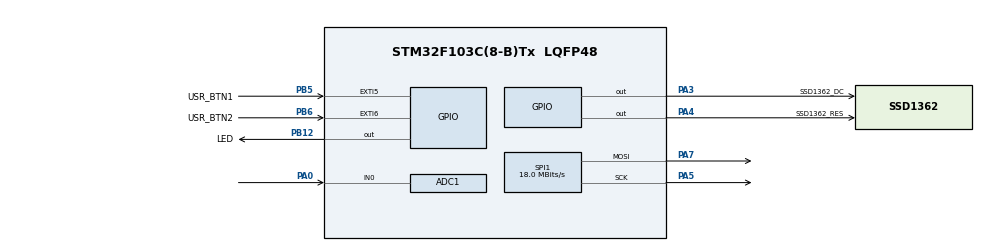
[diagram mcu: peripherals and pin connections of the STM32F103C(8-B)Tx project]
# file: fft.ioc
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ADC1.Channel-2\#ChannelRegularConversion=ADC_CHANNEL_0
ADC1.ContinuousConvMode=DISABLE
ADC1.DataAlign=ADC_DATAALIGN_RIGHT
ADC1.EnableInjectedConversion=DISABLE
ADC1.EnableRegularConversion=ENABLE
ADC1.ExternalTrigConv=ADC_EXTERNALTRIGCONV_T3_TRGO
ADC1.InjNumberOfConversion=0
ADC1.NbrOfConversion=1
ADC1.NbrOfConversionFlag=1
ADC1.Rank-2\#ChannelRegularConversion=1
ADC1.SamplingTime-2\#ChannelRegularConversion=ADC_SAMPLETIME_13CYCLES_5
ADC1.master=1
Dma.ADC1.0.Direction=DMA_PERIPH_TO_MEMORY
Dma.ADC1.0.Instance=DMA1_Channel1
Dma.ADC1.0.MemDataAlignment=DMA_MDATAALIGN_WORD
Dma.ADC1.0.MemInc=DMA_MINC_ENABLE
Dma.ADC1.0.Mode=DMA_CIRCULAR
Dma.ADC1.0.PeriphDataAlignment=DMA_PDATAALIGN_HALFWORD
Dma.ADC1.0.PeriphInc=DMA_PINC_DISABLE
Dma.ADC1.0.Priority=DMA_PRIORITY_LOW
Dma.Request0=ADC1
Dma.Request1=SPI1_TX
Dma.SPI1_TX.1.Direction=DMA_MEMORY_TO_PERIPH
Dma.SPI1_TX.1.Instance=DMA1_Channel3
Dma.SPI1_TX.1.MemDataAlignment=DMA_MDATAALIGN_BYTE
Dma.SPI1_TX.1.MemInc=DMA_MINC_ENABLE
Dma.SPI1_TX.1.Mode=DMA_CIRCULAR
Dma.SPI1_TX.1.PeriphDataAlignment=DMA_PDATAALIGN_BYTE
Dma.SPI1_TX.1.PeriphInc=DMA_PINC_DISABLE
Dma.SPI1_TX.1.Priority=DMA_PRIORITY_LOW
Mcu.Family=STM32F1
Mcu.Name=STM32F103C(8-B)Tx
Mcu.Package=LQFP48
NVIC.DMA1_Channel1_IRQn=true\:0\:0\:false\:false\:true\:false\:true\:true
NVIC.DMA1_Channel3_IRQn=true\:0\:0\:false\:false\:true\:false\:true\:true
NVIC.PriorityGroup=NVIC_PRIORITYGROUP_4
PA0-WKUP.Signal=ADCx_IN0
PA13.Mode=Serial_Wire
PA13.Signal=SYS_JTMS-SWDIO
PA14.Mode=Serial_Wire
PA14.Signal=SYS_JTCK-SWCLK
PA3.GPIO_Label=SSD1362_DC
PA3.Signal=GPIO_Output
PA4.GPIO_Label=SSD1362_RES
PA4.Signal=GPIO_Output
PA5.Mode=TX_Only_Simplex_Unidirect_Master
PA5.Signal=SPI1_SCK
PA7.Mode=TX_Only_Simplex_Unidirect_Master
PA7.Signal=SPI1_MOSI
PB12.GPIO_Label=LED
PB12.PinState=GPIO_PIN_SET
PB12.Signal=GPIO_Output
PB5.GPIO_Label=USR_BTN1
PB5.GPIO_PuPd=GPIO_PULLUP
PB5.Signal=GPXTI5
PB6.GPIO_Label=USR_BTN2
PB6.GPIO_PuPd=GPIO_PULLUP
PB6.Signal=GPXTI6
PD0-OSC_IN.Mode=HSE-External-Oscillator
PD0-OSC_IN.Signal=RCC_OSC_IN
PD1-OSC_OUT.Mode=HSE-External-Oscillator
PD1-OSC_OUT.Signal=RCC_OSC_OUT
ProjectManager.HeapSize=0x200
ProjectManager.StackSize=0x400
ProjectManager.TargetToolchain=STM32CubeIDE
RCC.ADCPresc=RCC_ADCPCLK2_DIV6
RCC.AHBFreq_Value=72000000
RCC.APB1CLKDivider=RCC_HCLK_DIV2
RCC.APB1Freq_Value=36000000
RCC.APB1TimFreq_Value=72000000
RCC.APB2Freq_Value=72000000
RCC.APB2TimFreq_Value=72000000
RCC.HCLKFreq_Value=72000000
RCC.PLLMUL=RCC_PLL_MUL9
RCC.PLLSourceVirtual=RCC_PLLSOURCE_HSE
RCC.SYSCLKFreq_VALUE=72000000
RCC.SYSCLKSource=RCC_SYSCLKSOURCE_PLLCLK
RCC.USBFreq_Value=72000000
SH.ADCx_IN0.0=ADC1_IN0,IN0
SPI1.BaudRatePrescaler=SPI_BAUDRATEPRESCALER_4
SPI1.CalculateBaudRate=18.0 MBits/s
SPI1.DataSize=SPI_DATASIZE_8BIT
SPI1.Direction=SPI_DIRECTION_2LINES
SPI1.Mode=SPI_MODE_MASTER
SPI1.VirtualType=VM_MASTER
TIM3.Period=2399
TIM3.Prescaler=0
TIM3.TIM_MasterOutputTrigger=TIM_TRGO_UPDATE
VP_TIM3_VS_ClockSourceINT.Mode=Internal
board=custom

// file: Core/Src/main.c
/* USER CODE BEGIN Header */
/**
  ******************************************************************************
  * @file           : main.c
  * @brief          : Main program body
  ******************************************************************************
  * @attention
  *
  * Copyright (c) 2023 STMicroelectronics.
  * All rights reserved.
  *
  * This software is licensed under terms that can be found in the LICENSE file
  * in the root directory of this software component.
  * If no LICENSE file comes with this software, it is provided AS-IS.
  *
  ******************************************************************************
  */
/* USER CODE END Header */
#include "main.h"

/* USER CODE BEGIN Includes */
#include "ssd1362.h"
#include "application.h"
/* USER CODE END Includes */

/* USER CODE BEGIN PV */
volatile uint8_t sampleAvail;
volatile uint8_t processCplt;
volatile uint8_t readBuffer;

static int32_t fftInOut[2][FFT_SIZE];

extern arm_rfft_instance_q31 rfftInstance;
extern uint8_t dispBuf[SSD1362_SEGS / 2][SSD1362_COMS];

/* USER CODE END PV */

void SystemClock_Config(void);
static void MX_GPIO_Init(void);
static void MX_DMA_Init(void);
static void MX_ADC1_Init(void);
static void MX_SPI1_Init(void);
static void MX_TIM3_Init(void);

int main(void)
{

  /* MCU Configuration--------------------------------------------------------*/

  /* Reset of all peripherals, Initializes the Flash interface and the Systick. */
  LL_APB2_GRP1_EnableClock(LL_APB2_GRP1_PERIPH_AFIO);
  LL_APB1_GRP1_EnableClock(LL_APB1_GRP1_PERIPH_PWR);

  /* System interrupt init*/
  NVIC_SetPriorityGrouping(NVIC_PRIORITYGROUP_4);

  /* SysTick_IRQn interrupt configuration */
  NVIC_SetPriority(SysTick_IRQn, NVIC_EncodePriority(NVIC_GetPriorityGrouping(),15, 0));

  /** NOJTAG: JTAG-DP Disabled and SW-DP Enabled
  */
  LL_GPIO_AF_Remap_SWJ_NOJTAG();

  /* Configure the system clock */
  SystemClock_Config();

  /* Initialize all configured peripherals */
  MX_GPIO_Init();
  MX_DMA_Init();
  MX_ADC1_Init();
  MX_SPI1_Init();
  MX_TIM3_Init();
  /* USER CODE BEGIN 2 */

  LL_SPI_Enable(SPI1);
  SSD1362_Init();
  arm_rfft_init_q31(&rfftInstance, FFT_SIZE, 0, 1);

  // ADC DMA configuration
  // RM0008 13.3.3 Channel configuration procedure
  LL_DMA_SetPeriphAddress(DMA1, LL_DMA_CHANNEL_1, (uint32_t)&ADC1->DR);
  LL_DMA_SetMemoryAddress(DMA1, LL_DMA_CHANNEL_1, (uint32_t)fftInOut);
  LL_DMA_SetDataLength(DMA1, LL_DMA_CHANNEL_1, 2*FFT_SIZE);
  LL_DMA_EnableIT_TC(DMA1, LL_DMA_CHANNEL_1);
  LL_DMA_EnableIT_HT(DMA1, LL_DMA_CHANNEL_1);
  LL_DMA_EnableChannel(DMA1, LL_DMA_CHANNEL_1);

  // SPI DMA configuration
  LL_DMA_SetPeriphAddress(DMA1, LL_DMA_CHANNEL_3, (uint32_t)&SPI1->DR);
	LL_DMA_SetMemoryAddress(DMA1, LL_DMA_CHANNEL_3, (uint32_t)dispBuf);
	LL_DMA_SetDataLength(DMA1, LL_DMA_CHANNEL_3, sizeof(dispBuf));
	LL_DMA_EnableIT_TC(DMA1, LL_DMA_CHANNEL_3);
	LL_DMA_EnableChannel(DMA1, LL_DMA_CHANNEL_3);

  LL_ADC_Enable(ADC1);
  LL_ADC_StartCalibration(ADC1);
  while (LL_ADC_IsCalibrationOnGoing(ADC1));

  // Sampling clock configuration
  LL_TIM_EnableUpdateEvent(TIM3);
  LL_TIM_EnableCounter(TIM3);

  sampleAvail = 0;
  processCplt = 1;
  LL_ADC_REG_StartConversionExtTrig(ADC1, LL_ADC_REG_TRIG_EXT_RISING);
  /* USER CODE END 2 */

  /* Infinite loop */
  /* USER CODE BEGIN WHILE */
  while (1)
  {
  	if (sampleAvail && processCplt)
  	{
  		sampleAvail = 0;
  		processCplt = 0;

  		LL_GPIO_TogglePin(LED_GPIO_Port, LED_Pin);

			DoFFTAndUpdateDisplay(fftInOut[readBuffer]);
			LL_SPI_EnableDMAReq_TX(SPI1);
  	}
    /* USER CODE END WHILE */

  }
}

void SystemClock_Config(void)
{
  LL_FLASH_SetLatency(LL_FLASH_LATENCY_2);
  while(LL_FLASH_GetLatency()!= LL_FLASH_LATENCY_2)
  {
  }
  LL_RCC_HSE_Enable();

   /* Wait till HSE is ready */
  while(LL_RCC_HSE_IsReady() != 1)
  {

  }
  LL_RCC_PLL_ConfigDomain_SYS(LL_RCC_PLLSOURCE_HSE_DIV_1, LL_RCC_PLL_MUL_9);
  LL_RCC_PLL_Enable();

   /* Wait till PLL is ready */
  while(LL_RCC_PLL_IsReady() != 1)
  {

  }
  LL_RCC_SetAHBPrescaler(LL_RCC_SYSCLK_DIV_1);
  LL_RCC_SetAPB1Prescaler(LL_RCC_APB1_DIV_2);
  LL_RCC_SetAPB2Prescaler(LL_RCC_APB2_DIV_1);
  LL_RCC_SetSysClkSource(LL_RCC_SYS_CLKSOURCE_PLL);

   /* Wait till System clock is ready */
  while(LL_RCC_GetSysClkSource() != LL_RCC_SYS_CLKSOURCE_STATUS_PLL)
  {

  }
  LL_Init1msTick(72000000);
  LL_SetSystemCoreClock(72000000);
  LL_RCC_SetADCClockSource(LL_RCC_ADC_CLKSRC_PCLK2_DIV_6);
}

static void MX_ADC1_Init(void)
{

  LL_ADC_InitTypeDef ADC_InitStruct = {0};
  LL_ADC_CommonInitTypeDef ADC_CommonInitStruct = {0};
  LL_ADC_REG_InitTypeDef ADC_REG_InitStruct = {0};

  LL_GPIO_InitTypeDef GPIO_InitStruct = {0};

  /* Peripheral clock enable */
  LL_APB2_GRP1_EnableClock(LL_APB2_GRP1_PERIPH_ADC1);

  LL_APB2_GRP1_EnableClock(LL_APB2_GRP1_PERIPH_GPIOA);
  /**ADC1 GPIO Configuration
  PA0-WKUP   ------> ADC1_IN0
  */
  GPIO_InitStruct.Pin = LL_GPIO_PIN_0;
  GPIO_InitStruct.Mode = LL_GPIO_MODE_ANALOG;
  LL_GPIO_Init(GPIOA, &GPIO_InitStruct);

  /* ADC1 DMA Init */

  /* ADC1 Init */
  LL_DMA_SetDataTransferDirection(DMA1, LL_DMA_CHANNEL_1, LL_DMA_DIRECTION_PERIPH_TO_MEMORY);

  LL_DMA_SetChannelPriorityLevel(DMA1, LL_DMA_CHANNEL_1, LL_DMA_PRIORITY_LOW);

  LL_DMA_SetMode(DMA1, LL_DMA_CHANNEL_1, LL_DMA_MODE_CIRCULAR);

  LL_DMA_SetPeriphIncMode(DMA1, LL_DMA_CHANNEL_1, LL_DMA_PERIPH_NOINCREMENT);

  LL_DMA_SetMemoryIncMode(DMA1, LL_DMA_CHANNEL_1, LL_DMA_MEMORY_INCREMENT);

  LL_DMA_SetPeriphSize(DMA1, LL_DMA_CHANNEL_1, LL_DMA_PDATAALIGN_HALFWORD);

  LL_DMA_SetMemorySize(DMA1, LL_DMA_CHANNEL_1, LL_DMA_MDATAALIGN_WORD);

  /** Common config
  */
  ADC_InitStruct.DataAlignment = LL_ADC_DATA_ALIGN_RIGHT;
  ADC_InitStruct.SequencersScanMode = LL_ADC_SEQ_SCAN_DISABLE;
  LL_ADC_Init(ADC1, &ADC_InitStruct);
  ADC_CommonInitStruct.Multimode = LL_ADC_MULTI_INDEPENDENT;
  LL_ADC_CommonInit(__LL_ADC_COMMON_INSTANCE(ADC1), &ADC_CommonInitStruct);
  ADC_REG_InitStruct.TriggerSource = LL_ADC_REG_TRIG_EXT_TIM3_TRGO;
  ADC_REG_InitStruct.SequencerLength = LL_ADC_REG_SEQ_SCAN_DISABLE;
  ADC_REG_InitStruct.SequencerDiscont = LL_ADC_REG_SEQ_DISCONT_DISABLE;
  ADC_REG_InitStruct.ContinuousMode = LL_ADC_REG_CONV_SINGLE;
  ADC_REG_InitStruct.DMATransfer = LL_ADC_REG_DMA_TRANSFER_UNLIMITED;
  LL_ADC_REG_Init(ADC1, &ADC_REG_InitStruct);

  /** Configure Regular Channel
  */
  LL_ADC_REG_SetSequencerRanks(ADC1, LL_ADC_REG_RANK_1, LL_ADC_CHANNEL_0);
  LL_ADC_SetChannelSamplingTime(ADC1, LL_ADC_CHANNEL_0, LL_ADC_SAMPLINGTIME_13CYCLES_5);

}

static void MX_SPI1_Init(void)
{

  LL_SPI_InitTypeDef SPI_InitStruct = {0};

  LL_GPIO_InitTypeDef GPIO_InitStruct = {0};

  /* Peripheral clock enable */
  LL_APB2_GRP1_EnableClock(LL_APB2_GRP1_PERIPH_SPI1);

  LL_APB2_GRP1_EnableClock(LL_APB2_GRP1_PERIPH_GPIOA);
  /**SPI1 GPIO Configuration
  PA5   ------> SPI1_SCK
  PA7   ------> SPI1_MOSI
  */
  GPIO_InitStruct.Pin = LL_GPIO_PIN_5|LL_GPIO_PIN_7;
  GPIO_InitStruct.Mode = LL_GPIO_MODE_ALTERNATE;
  GPIO_InitStruct.Speed = LL_GPIO_SPEED_FREQ_HIGH;
  GPIO_InitStruct.OutputType = LL_GPIO_OUTPUT_PUSHPULL;
  LL_GPIO_Init(GPIOA, &GPIO_InitStruct);

  /* SPI1 DMA Init */

  /* SPI1_TX Init */
  LL_DMA_SetDataTransferDirection(DMA1, LL_DMA_CHANNEL_3, LL_DMA_DIRECTION_MEMORY_TO_PERIPH);

  LL_DMA_SetChannelPriorityLevel(DMA1, LL_DMA_CHANNEL_3, LL_DMA_PRIORITY_LOW);

  LL_DMA_SetMode(DMA1, LL_DMA_CHANNEL_3, LL_DMA_MODE_CIRCULAR);

  LL_DMA_SetPeriphIncMode(DMA1, LL_DMA_CHANNEL_3, LL_DMA_PERIPH_NOINCREMENT);

  LL_DMA_SetMemoryIncMode(DMA1, LL_DMA_CHANNEL_3, LL_DMA_MEMORY_INCREMENT);

  LL_DMA_SetPeriphSize(DMA1, LL_DMA_CHANNEL_3, LL_DMA_PDATAALIGN_BYTE);

  LL_DMA_SetMemorySize(DMA1, LL_DMA_CHANNEL_3, LL_DMA_MDATAALIGN_BYTE);

  /* SPI1 parameter configuration*/
  SPI_InitStruct.TransferDirection = LL_SPI_FULL_DUPLEX;
  SPI_InitStruct.Mode = LL_SPI_MODE_MASTER;
  SPI_InitStruct.DataWidth = LL_SPI_DATAWIDTH_8BIT;
  SPI_InitStruct.ClockPolarity = LL_SPI_POLARITY_LOW;
  SPI_InitStruct.ClockPhase = LL_SPI_PHASE_1EDGE;
  SPI_InitStruct.NSS = LL_SPI_NSS_SOFT;
  SPI_InitStruct.BaudRate = LL_SPI_BAUDRATEPRESCALER_DIV4;
  SPI_InitStruct.BitOrder = LL_SPI_MSB_FIRST;
  SPI_InitStruct.CRCCalculation = LL_SPI_CRCCALCULATION_DISABLE;
  SPI_InitStruct.CRCPoly = 10;
  LL_SPI_Init(SPI1, &SPI_InitStruct);

}

static void MX_TIM3_Init(void)
{

  LL_TIM_InitTypeDef TIM_InitStruct = {0};

  /* Peripheral clock enable */
  LL_APB1_GRP1_EnableClock(LL_APB1_GRP1_PERIPH_TIM3);

  TIM_InitStruct.Prescaler = 0;
  TIM_InitStruct.CounterMode = LL_TIM_COUNTERMODE_UP;
  TIM_InitStruct.Autoreload = 2399;
  TIM_InitStruct.ClockDivision = LL_TIM_CLOCKDIVISION_DIV1;
  LL_TIM_Init(TIM3, &TIM_InitStruct);
  LL_TIM_DisableARRPreload(TIM3);
  LL_TIM_SetClockSource(TIM3, LL_TIM_CLOCKSOURCE_INTERNAL);
  LL_TIM_SetTriggerOutput(TIM3, LL_TIM_TRGO_UPDATE);
  LL_TIM_DisableMasterSlaveMode(TIM3);

}

static void MX_DMA_Init(void)
{

  /* Init with LL driver */
  /* DMA controller clock enable */
  LL_AHB1_GRP1_EnableClock(LL_AHB1_GRP1_PERIPH_DMA1);

  /* DMA interrupt init */
  /* DMA1_Channel1_IRQn interrupt configuration */
  NVIC_SetPriority(DMA1_Channel1_IRQn, NVIC_EncodePriority(NVIC_GetPriorityGrouping(),0, 0));
  NVIC_EnableIRQ(DMA1_Channel1_IRQn);
  /* DMA1_Channel3_IRQn interrupt configuration */
  NVIC_SetPriority(DMA1_Channel3_IRQn, NVIC_EncodePriority(NVIC_GetPriorityGrouping(),0, 0));
  NVIC_EnableIRQ(DMA1_Channel3_IRQn);

}

static void MX_GPIO_Init(void)
{
  LL_EXTI_InitTypeDef EXTI_InitStruct = {0};
  LL_GPIO_InitTypeDef GPIO_InitStruct = {0};

  /* GPIO Ports Clock Enable */
  LL_APB2_GRP1_EnableClock(LL_APB2_GRP1_PERIPH_GPIOD);
  LL_APB2_GRP1_EnableClock(LL_APB2_GRP1_PERIPH_GPIOA);
  LL_APB2_GRP1_EnableClock(LL_APB2_GRP1_PERIPH_GPIOB);

  /**/
  LL_GPIO_ResetOutputPin(GPIOA, SSD1362_DC_Pin|SSD1362_RES_Pin);

  /**/
  LL_GPIO_SetOutputPin(LED_GPIO_Port, LED_Pin);

  /**/
  GPIO_InitStruct.Pin = SSD1362_DC_Pin|SSD1362_RES_Pin;
  GPIO_InitStruct.Mode = LL_GPIO_MODE_OUTPUT;
  GPIO_InitStruct.Speed = LL_GPIO_SPEED_FREQ_LOW;
  GPIO_InitStruct.OutputType = LL_GPIO_OUTPUT_PUSHPULL;
  LL_GPIO_Init(GPIOA, &GPIO_InitStruct);

  /**/
  GPIO_InitStruct.Pin = LED_Pin;
  GPIO_InitStruct.Mode = LL_GPIO_MODE_OUTPUT;
  GPIO_InitStruct.Speed = LL_GPIO_SPEED_FREQ_LOW;
  GPIO_InitStruct.OutputType = LL_GPIO_OUTPUT_PUSHPULL;
  LL_GPIO_Init(LED_GPIO_Port, &GPIO_InitStruct);

  /**/
  LL_GPIO_AF_SetEXTISource(LL_GPIO_AF_EXTI_PORTB, LL_GPIO_AF_EXTI_LINE5);

  /**/
  LL_GPIO_AF_SetEXTISource(LL_GPIO_AF_EXTI_PORTB, LL_GPIO_AF_EXTI_LINE6);

  /**/
  EXTI_InitStruct.Line_0_31 = LL_EXTI_LINE_5;
  EXTI_InitStruct.LineCommand = ENABLE;
  EXTI_InitStruct.Mode = LL_EXTI_MODE_IT;
  EXTI_InitStruct.Trigger = LL_EXTI_TRIGGER_RISING;
  LL_EXTI_Init(&EXTI_InitStruct);

  /**/
  EXTI_InitStruct.Line_0_31 = LL_EXTI_LINE_6;
  EXTI_InitStruct.LineCommand = ENABLE;
  EXTI_InitStruct.Mode = LL_EXTI_MODE_IT;
  EXTI_InitStruct.Trigger = LL_EXTI_TRIGGER_RISING;
  LL_EXTI_Init(&EXTI_InitStruct);

  /**/
  LL_GPIO_SetPinPull(USR_BTN1_GPIO_Port, USR_BTN1_Pin, LL_GPIO_PULL_UP);

  /**/
  LL_GPIO_SetPinPull(USR_BTN2_GPIO_Port, USR_BTN2_Pin, LL_GPIO_PULL_UP);

  /**/
  LL_GPIO_SetPinMode(USR_BTN1_GPIO_Port, USR_BTN1_Pin, LL_GPIO_MODE_INPUT);

  /**/
  LL_GPIO_SetPinMode(USR_BTN2_GPIO_Port, USR_BTN2_Pin, LL_GPIO_MODE_INPUT);

}

void Error_Handler(void)
{
  /* USER CODE BEGIN Error_Handler_Debug */
  /* User can add his own implementation to report the HAL error return state */
  __disable_irq();
  LL_GPIO_ResetOutputPin(LED_GPIO_Port, LED_Pin);
  while (1)
  {

  }
  /* USER CODE END Error_Handler_Debug */
}
